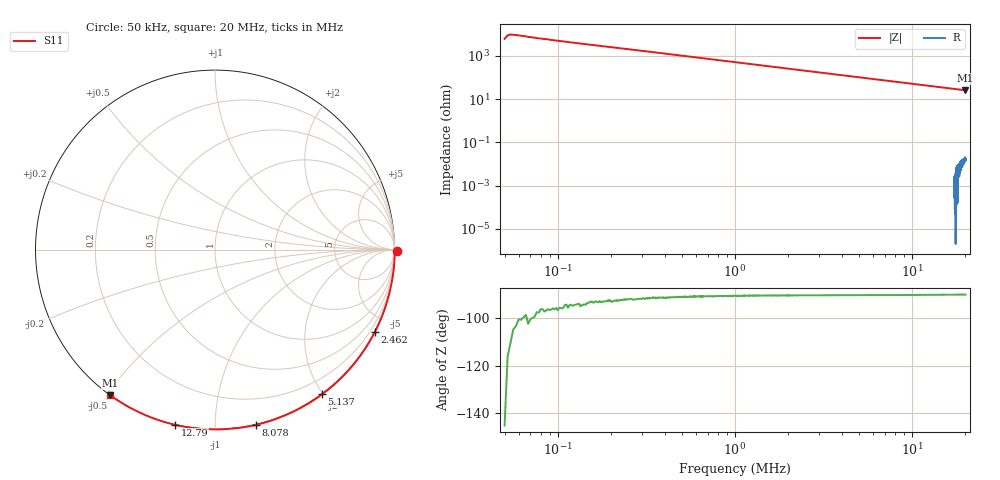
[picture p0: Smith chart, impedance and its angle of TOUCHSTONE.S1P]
!Keysight Technologies,E5063A,MY54100949,A.07.30
!Date: Wed Nov 26 00:36:48 2025
!Data & Calibration Information:
!Freq	S11:SOLT1(ON)
# Hz S RI R 50
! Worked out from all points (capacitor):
!   10001 points, 50 kHz to 20 MHz, reference 50 ohm
!   read as one part to ground: C = 315 pF near 149.8 kHz
!   lowest |Z| = 25.6 ohm at 20 MHz (marker M1)
!   S11 on the Smith chart (normalised r, x): 50 kHz: open; 2.462 MHz: -0.02, -4.14; 5.137 MHz: -0.01, -1.98; 8.078 MHz: -0.00, -1.26; 12.79 MHz: -0.00, -0.80; 20 MHz: 0.00, -0.51
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50000  1.013 -0.00938
137780  1.002 -0.028
804110  0.9891 -0.157
1304855  0.9695 -0.252
1873430  0.9366 -0.3559
2461955  0.8919 -0.4572
2543750  0.8849 -0.4706
3204095  0.8225 -0.5733
3802595  0.7579 -0.6567
4405085  0.6872 -0.7303
5037500  0.6093 -0.7969
5137250  0.5965 -0.8064
5739740  0.5203 -0.8576
6318290  0.4461 -0.8981
6934745  0.3687 -0.9328
7531250  0.295 -0.9587
8077880  0.229 -0.9764
9007550  0.124 -0.9948
1.0025e7  0.0175 -1.002
1.124794e7  -0.0973 -0.9969
1.251875e7  -0.2015 -0.9808
1.279206e7  -0.2221 -0.9762
1.38973e7  -0.299 -0.9553
1.50125e7  -0.3671 -0.9308
1.623144e7  -0.4321 -0.9021
1.750625e7  -0.491 -0.8711
1.883692e7  -0.5439 -0.8388
2e7  -0.5842 -0.8109
